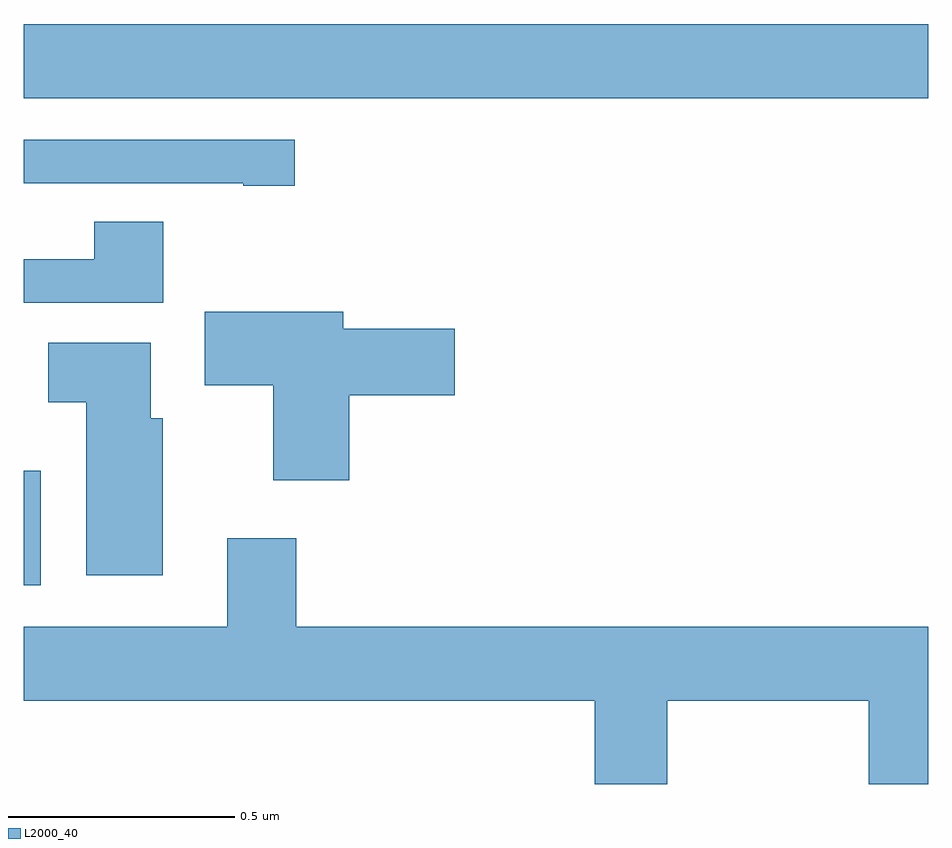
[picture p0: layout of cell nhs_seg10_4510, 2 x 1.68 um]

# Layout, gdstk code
import gdstk
lib = gdstk.Library(unit=1e-6, precision=1e-09)
def R(c, l, rs):  # rectangles x0, y0, x1, y1
    for r in rs: c.add(gdstk.rectangle(r[:2], r[2:], *l))
def P(c, l, *ps):  # polygons
    for p in ps: c.add(gdstk.Polygon(p, *l))
L2000_40 = (2000, 40)

nhs_seg10_4510 = lib.new_cell('nhs_seg10_4510')
R(nhs_seg10_4510, L2000_40, [(167,1265.939,167.038,1266.193), (167,1267.016,169,1267.18)])
P(nhs_seg10_4510, L2000_40, [(167.599,1266.924),(167,1266.924),(167,1266.828),(167.486,1266.828),(167.486,1266.823),(167.599,1266.823)],
  [(167.309,1266.743),(167.156,1266.743),(167.156,1266.66),(167,1266.66),(167,1266.564),(167.309,1266.564)],
  [(167.72,1266.359),(167.953,1266.359),(167.953,1266.506),(167.707,1266.506),(167.707,1266.544),(167.4,1266.544),(167.4,1266.382),(167.552,1266.382),(167.552,1266.171),(167.72,1266.171)],
  [(167.308,1266.309),(167.281,1266.309),(167.281,1266.475),(167.054,1266.475),(167.054,1266.344),(167.138,1266.344),(167.138,1265.961),(167.308,1265.961)],
  [(168.423,1265.684),(168.868,1265.684),(168.868,1265.5),(169,1265.5),(169,1265.848),(167.603,1265.848),(167.603,1266.043),(167.45,1266.043),(167.45,1265.848),(167,1265.848),(167,1265.684),(168.263,1265.684),(168.263,1265.5),(168.423,1265.5)])

lib.write_gds('nhs_seg10_4510.gds')
